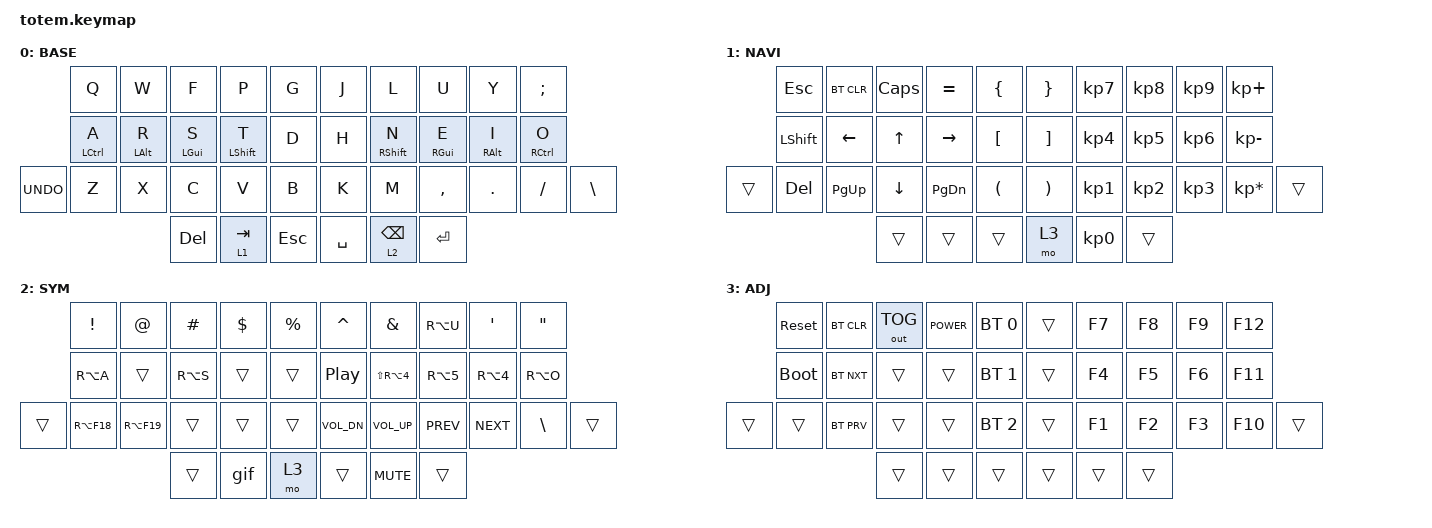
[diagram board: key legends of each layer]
//
//                                                        ▀▀▀▀▀     ▀▀▀▀▀          ▀▀█▀▀
//                                                        ▄▀▀▀▄  ▄  ▄▀▀▀▄  ▄  ▄▀▀▀▄  █  ▄▀▀▀▄
//                                                        █   █  █  █   █  █  █   █  █  █   █
//                                                         ▀▀▀   █   ▀▀▀   █   ▀▀▀   ▀   ▀▀▀
//                                                               █      ▄▄▄█▄▄▄    █   █  
//                                                               ▀      █  █  █     █▄█
//                                                             ▀▀▀▀▀    █  █  █      ▀
//                                                                      ▀  ▀  ▀
//
// ▄▄▄▄▄▄▄▄▄▄▄▄▄▄▄▄▄▄▄▄▄▄▄▄▄▄▄▄▄▄▄▄▄▄▄▄▄▄▄▄▄▄▄▄▄▄▄▄▄▄▄▄▄▄▄▄▄▄▄▄▄▄▄▄▄▄▄▄▄▄▄▄▄▄▄▄▄▄▄▄▄▄▄▄▄▄▄▄▄▄▄▄▄▄▄▄▄▄▄▄▄▄▄▄▄▄▄▄▄▄▄▄▄▄▄▄▄▄▄▄▄▄▄▄▄▄▄▄▄▄▄▄▄▄▄▄▄▄▄▄▄▄▄▄▄▄▄▄▄
       

#include <behaviors.dtsi>
#include <dt-bindings/zmk/bt.h>
#include <dt-bindings/zmk/keys.h>
#include <dt-bindings/zmk/outputs.h>

#define BASE 0
#define NAV  1
#define SYM  2
#define ADJ  3

&mt {
  quick-tap-ms = <100>;
  global-quick-tap;
  flavor = "tap-preferred";
  tapping-term-ms = <200>;
};

/ {
    combos {
        compatible = "zmk,combos";

        combo_esc {
            timeout-ms = <50>;
            key-positions = <0 1>;
            bindings = <&kp ESC>;
        };

        combo_tvp {
            timeout-ms = <100>;
            key-positions = <11 12 13>;
            bindings = <&tog 0>;
        };

        copy {
            bindings = <&kp LG(C)>;
            key-positions = <22 23>;
            layers = <0>;
        };

        paste {
            bindings = <&kp LG(V)>;
            key-positions = <23 24>;
        };

        cut {
            bindings = <&kp LG(X)>;
            key-positions = <22 23 24>;
        };

        left_par {
            bindings = <&kp LEFT_PARENTHESIS>;
            key-positions = <16 17>;
        };

        right_par {
            bindings = <&kp RIGHT_PARENTHESIS>;
            key-positions = <17 18>;
        };

        left_brack {
            bindings = <&kp LEFT_BRACKET>;
            key-positions = <6 7>;
        };

        right_brack {
            bindings = <&kp RIGHT_BRACKET>;
            key-positions = <7 8>;
        };

        left_brace {
            bindings = <&kp LEFT_BRACE>;
            key-positions = <27 28>;
        };

        right_brace {
            bindings = <&kp RIGHT_BRACE>;
            key-positions = <28 29>;
        };

        underscore {
            bindings = <&kp UNDERSCORE>;
            key-positions = <16 27>;
        };

        hyper {
            bindings = <&kp LS(LA(LC(LGUI)))>;
            key-positions = <33 34>;
        };

        at {
            bindings = <&kp AT>;
            key-positions = <1 11>;
        };

        pound {
            bindings = <&kp POUND>;
            key-positions = <2 12>;
        };

        dollar {
            bindings = <&kp DOLLAR>;
            key-positions = <3 13>;
        };

        percent {
            bindings = <&kp PERCENT>;
            key-positions = <4 14>;
        };

        equal {
            bindings = <&kp EQUAL>;
            key-positions = <13 24>;
        };

        tilde {
            bindings = <&kp TILDE>;
            key-positions = <14 25>;
        };

        minus {
            bindings = <&kp KP_MINUS>;
            key-positions = <15 26>;
        };
    };

    macros {
        gif: gif {
            label = "giphy";
            compatible = "zmk,behavior-macro";
            #binding-cells = <0>;
            bindings =
                <&macro_press>,
                <&kp LSHFT>,
                <&macro_tap>,
                <&kp N2>,
                <&macro_release>,
                <&kp LSHFT>,
                <&macro_tap>,
                <&kp G &kp I &kp F>;
        };
    };

    keymap {
        compatible = "zmk,keymap";

        // ▄▄▄▄▄▄▄▄▄▄▄▄▄▄▄▄▄▄▄▄▄▄▄▄▄▄▄▄▄▄▄▄▄▄▄▄▄▄▄▄▄▄▄▄▄▄▄▄▄▄▄▄▄▄▄▄▄▄▄▄▄▄▄▄▄▄▄▄▄▄▄▄▄▄▄▄▄▄▄▄▄▄▄▄▄▄▄▄▄▄▄▄▄▄▄▄▄▄▄▄▄▄▄▄▄▄▄▄▄▄▄▄▄▄▄▄▄▄▄▄▄▄▄▄▄▄▄▄▄▄▄▄▄▄▄▄▄▄▄▄▄▄▄▄▄▄▄▄▄

        base_layer {
            // ┏━━━━━━━━━━━━━━━━━━━━━━━━━━━━━━━━━━━━━━━┓

            label = "BASE";

            // ┗━━━━━━━━━━━━━━━━━━━━━━━━━━━━━━━━━━━━━━━┛
            //             ┏━━━━━━━━━━━┳━━━━━━━━━━━┳━━━━━━━━━━━┳━━━━━━━━━━━┳━━━━━━━━━━━┓   ┏━━━━━━━━━━━┳━━━━━━━━━━━┳━━━━━━━━━━━┳━━━━━━━━━━━┳━━━━━━━━━━━┓
            //             ┃     Q     ┃     W     ┃     F     ┃     P     ┃     G     ┃   ┃     J     ┃     L     ┃     U     ┃     Y     ┃     ;     ┃
            //             ┣━━━━━━━━━━━╋━━━━━━━━━━━╋━━━━━━━━━━━╋━━━━━━━━━━━╋━━━━━━━━━━━┫   ┣━━━━━━━━━━━╋━━━━━━━━━━━╋━━━━━━━━━━━╋━━━━━━━━━━━╋━━━━━━━━━━━┫
            //             ┃     A     ┃     R     ┃     S     ┃     T     ┃     D     ┃   ┃     H     ┃     N     ┃     E     ┃     I     ┃     O     ┃
            // ┏━━━━━━━━━━━╋━━━━━━━━━━━╋━━━━━━━━━━━╋━━━━━━━━━━━╋━━━━━━━━━━━╋━━━━━━━━━━━┫   ┣━━━━━━━━━━━╋━━━━━━━━━━━╋━━━━━━━━━━━╋━━━━━━━━━━━╋━━━━━━━━━━━╋━━━━━━━━━━━┓
            // ┃     Q     ┃     Z     ┃     X     ┃     C     ┃     V     ┃     B     ┃   ┃     K     ┃     M     ┃     ,     ┃     .     ┃     /     ┃     \     ┃
            // ┗━━━━━━━━━━━┻━━━━━━━━━━━┻━━━━━━━━━━━╋━━━━━━━━━━━╋━━━━━━━━━━━╋━━━━━━━━━━━┫   ┣━━━━━━━━━━━╋━━━━━━━━━━━╋━━━━━━━━━━━╋━━━━━━━━━━━┻━━━━━━━━━━━┻━━━━━━━━━━━┛
            //                                     ┃    DEL    ┃    TAB    ┃    SPC    ┃   ┃   ENTER   ┃           ┃   BSPC    ┃
            //                                     ┗━━━━━━━━━━━┻━━━━━━━━━━━┻━━━━━━━━━━━┛   ┗━━━━━━━━━━━┻━━━━━━━━━━━┻━━━━━━━━━━━┛

            bindings = <
            &kp Q        &kp W       &kp F       &kp P        &kp G      &kp J      &kp L            &kp U       &kp Y       &kp SEMI
            &mt LCTRL A  &mt LALT R  &mt LGUI S  &mt LSHFT T  &kp D      &kp H      &mt RSHFT N      &mt RGUI E  &mt RALT I  &mt RCTRL O
&kp K_UNDO  &kp Z        &kp X       &kp C       &kp V        &kp B      &kp K      &kp M            &kp COMMA   &kp DOT     &kp FSLH     &kp BSLH
                                     &kp DEL     &lt 1 TAB    &kp ESC    &kp SPACE  &lt 2 BACKSPACE  &kp RETURN
            >;
        };

        // ▄▄▄▄▄▄▄▄▄▄▄▄▄▄▄▄▄▄▄▄▄▄▄▄▄▄▄▄▄▄▄▄▄▄▄▄▄▄▄▄▄▄▄▄▄▄▄▄▄▄▄▄▄▄▄▄▄▄▄▄▄▄▄▄▄▄▄▄▄▄▄▄▄▄▄▄▄▄▄▄▄▄▄▄▄▄▄▄▄▄▄▄▄▄▄▄▄▄▄▄▄▄▄▄▄▄▄▄▄▄▄▄▄▄▄▄▄▄▄▄▄▄▄▄▄▄▄▄▄▄▄▄▄▄▄▄▄▄▄▄▄▄▄▄▄▄▄▄▄

        nav_layer {
            // ┏━━━━━━━━━━━━━━━━━━━━━━━━━━━━━━━━━━━━━━━┓

            label = "NAVI";

            // ┗━━━━━━━━━━━━━━━━━━━━━━━━━━━━━━━━━━━━━━━┛
            //             ┏━━━━━━━━━━━┳━━━━━━━━━━━┳━━━━━━━━━━━┳━━━━━━━━━━━┳━━━━━━━━━━━┓   ┏━━━━━━━━━━━┳━━━━━━━━━━━┳━━━━━━━━━━━┳━━━━━━━━━━━┳━━━━━━━━━━━┓
            //             ┃           ┃           ┃     UP    ┃           ┃     {     ┃   ┃     }     ┃     7     ┃     8     ┃     9     ┃     +     ┃
            //             ┣━━━━━━━━━━━╋━━━━━━━━━━━╋━━━━━━━━━━━╋━━━━━━━━━━━╋━━━━━━━━━━━┫   ┣━━━━━━━━━━━╋━━━━━━━━━━━╋━━━━━━━━━━━╋━━━━━━━━━━━╋━━━━━━━━━━━┫
            //             ┃   SHIFT   ┃   LEFT    ┃    DOWN   ┃   RIGHT   ┃     [     ┃   ┃     ]     ┃     4     ┃     5     ┃     6     ┃     -     ┃
            // ┏━━━━━━━━━━━╋━━━━━━━━━━━╋━━━━━━━━━━━╋━━━━━━━━━━━╋━━━━━━━━━━━╋━━━━━━━━━━━┫   ┣━━━━━━━━━━━╋━━━━━━━━━━━╋━━━━━━━━━━━╋━━━━━━━━━━━╋━━━━━━━━━━━╋━━━━━━━━━━━┓
            // ┃           ┃           ┃   P UP    ┃  C LOCK   ┃  P DOWN   ┃     (     ┃   ┃     )     ┃     1     ┃     2     ┃     3     ┃     *     ┃           ┃
            // ┗━━━━━━━━━━━┻━━━━━━━━━━━┻━━━━━━━━━━━╋━━━━━━━━━━━╋━━━━━━━━━━━╋━━━━━━━━━━━┫   ┣━━━━━━━━━━━╋━━━━━━━━━━━╋━━━━━━━━━━━╋━━━━━━━━━━━┻━━━━━━━━━━━┻━━━━━━━━━━━┛
            //                                     ┃           ┃    TAB    ┃    SPC    ┃   ┃    DEL    ┃     0     ┃           ┃
            //                                     ┗━━━━━━━━━━━┻━━━━━━━━━━━┻━━━━━━━━━━━┛   ┗━━━━━━━━━━━┻━━━━━━━━━━━┻━━━━━━━━━━━┛

            bindings = <
        &kp ESC    &bt BT_CLR  &kp CAPS  &kp EQUAL  &kp LBRC    &kp RBRC  &kp KP_N7  &kp KP_N8  &kp KP_N9  &kp KP_PLUS
        &kp LSHFT  &kp LEFT    &kp UP    &kp RIGHT  &kp LBKT    &kp RBKT  &kp KP_N4  &kp KP_N5  &kp KP_N6  &kp KP_MINUS
&trans  &kp DEL    &kp PG_UP   &kp DOWN  &kp PG_DN  &kp LPAR    &kp RPAR  &kp KP_N1  &kp KP_N2  &kp KP_N3  &kp KP_MULTIPLY  &trans
                               &trans    &trans     &trans      &mo 3     &kp KP_N0  &trans
            >;
        };

        // ▄▄▄▄▄▄▄▄▄▄▄▄▄▄▄▄▄▄▄▄▄▄▄▄▄▄▄▄▄▄▄▄▄▄▄▄▄▄▄▄▄▄▄▄▄▄▄▄▄▄▄▄▄▄▄▄▄▄▄▄▄▄▄▄▄▄▄▄▄▄▄▄▄▄▄▄▄▄▄▄▄▄▄▄▄▄▄▄▄▄▄▄▄▄▄▄▄▄▄▄▄▄▄▄▄▄▄▄▄▄▄▄▄▄▄▄▄▄▄▄▄▄▄▄▄▄▄▄▄▄▄▄▄▄▄▄▄▄▄▄▄▄▄▄▄▄▄▄▄

        sim_layer {
            // ┏━━━━━━━━━━━━━━━━━━━━━━━━━━━━━━━━━━━━━━━┓

            label = "SYM";

            // ┗━━━━━━━━━━━━━━━━━━━━━━━━━━━━━━━━━━━━━━━┛
            //             ┏━━━━━━━━━━━┳━━━━━━━━━━━┳━━━━━━━━━━━┳━━━━━━━━━━━┳━━━━━━━━━━━┓   ┏━━━━━━━━━━━┳━━━━━━━━━━━┳━━━━━━━━━━━┳━━━━━━━━━━━┳━━━━━━━━━━━┓
            //             ┃     !     ┃     @     ┃     #     ┃     $     ┃     %     ┃   ┃     ˆ     ┃     &     ┃     Ü     ┃     '     ┃     "     ┃
            //             ┣━━━━━━━━━━━╋━━━━━━━━━━━╋━━━━━━━━━━━╋━━━━━━━━━━━╋━━━━━━━━━━━┫   ┣━━━━━━━━━━━╋━━━━━━━━━━━╋━━━━━━━━━━━╋━━━━━━━━━━━╋━━━━━━━━━━━┫
            //             ┃     Ä     ┃           ┃    SZ     ┃           ┃           ┃   ┃   MUTE    ┃   YEN     ┃   EURO    ┃  POUND    ┃     Ö     ┃
            // ┏━━━━━━━━━━━╋━━━━━━━━━━━╋━━━━━━━━━━━╋━━━━━━━━━━━╋━━━━━━━━━━━╋━━━━━━━━━━━┫   ┣━━━━━━━━━━━╋━━━━━━━━━━━╋━━━━━━━━━━━╋━━━━━━━━━━━╋━━━━━━━━━━━╋━━━━━━━━━━━┓
            // ┃           ┃  EMAIL1   ┃  EMAIL2   ┃           ┃           ┃           ┃   ┃   VOL-    ┃   VOL+    ┃   LAST    ┃   NEXT    ┃     \     ┃           ┃
            // ┗━━━━━━━━━━━┻━━━━━━━━━━━┻━━━━━━━━━━━╋━━━━━━━━━━━╋━━━━━━━━━━━╋━━━━━━━━━━━┫   ┣━━━━━━━━━━━╋━━━━━━━━━━━╋━━━━━━━━━━━╋━━━━━━━━━━━┻━━━━━━━━━━━┻━━━━━━━━━━━┛
            //                                     ┃           ┃    GIF    ┃    ADJ    ┃   ┃           ┃           ┃           ┃
            //                                     ┗━━━━━━━━━━━┻━━━━━━━━━━━┻━━━━━━━━━━━┛   ┗━━━━━━━━━━━┻━━━━━━━━━━━┻━━━━━━━━━━━┛

            bindings = <
        &kp EXCL     &kp AT       &kp HASH   &kp DLLR  &kp PRCNT    &kp CARET         &kp AMPS        &kp RA(U)   &kp SQT     &kp DQT
        &kp RA(A)    &trans       &kp RA(S)  &trans    &trans       &kp C_PLAY_PAUSE  &kp LS(RA(N4))  &kp RA(N5)  &kp RA(N4)  &kp RA(O)
&trans  &kp RA(F18)  &kp RA(F19)  &trans     &trans    &trans       &kp C_VOL_DN      &kp C_VOL_UP    &kp C_PREV  &kp C_NEXT  &kp BSLH   &trans
                                  &trans     &gif      &mo 3        &trans            &kp C_MUTE      &trans
            >;
        };

        // ▄▄▄▄▄▄▄▄▄▄▄▄▄▄▄▄▄▄▄▄▄▄▄▄▄▄▄▄▄▄▄▄▄▄▄▄▄▄▄▄▄▄▄▄▄▄▄▄▄▄▄▄▄▄▄▄▄▄▄▄▄▄▄▄▄▄▄▄▄▄▄▄▄▄▄▄▄▄▄▄▄▄▄▄▄▄▄▄▄▄▄▄▄▄▄▄▄▄▄▄▄▄▄▄▄▄▄▄▄▄▄▄▄▄▄▄▄▄▄▄▄▄▄▄▄▄▄▄▄▄▄▄▄▄▄▄▄▄▄▄▄▄▄▄▄▄▄▄▄

        adjust_layer {
            // ┏━━━━━━━━━━━━━━━━━━━━━━━━━━━━━━━━━━━━━━━┓

            label = "ADJ";

            // ┗━━━━━━━━━━━━━━━━━━━━━━━━━━━━━━━━━━━━━━━┛
            //             ┏━━━━━━━━━━━┳━━━━━━━━━━━┳━━━━━━━━━━━┳━━━━━━━━━━━┳━━━━━━━━━━━┓   ┏━━━━━━━━━━━┳━━━━━━━━━━━┳━━━━━━━━━━━┳━━━━━━━━━━━┳━━━━━━━━━━━┓
            //             ┃   RESET   ┃ BT CLEAR  ┃  OUT TOG  ┃           ┃   BT 0    ┃   ┃           ┃    F7     ┃    F8     ┃    F9     ┃    F12    ┃
            //             ┣━━━━━━━━━━━╋━━━━━━━━━━━╋━━━━━━━━━━━╋━━━━━━━━━━━╋━━━━━━━━━━━┫   ┣━━━━━━━━━━━╋━━━━━━━━━━━╋━━━━━━━━━━━╋━━━━━━━━━━━╋━━━━━━━━━━━┫
            //             ┃ BOOTLOAD  ┃ BT NEXT   ┃           ┃           ┃   BT 1    ┃   ┃           ┃    F4     ┃    F5     ┃    F6     ┃    F11    ┃
            // ┏━━━━━━━━━━━╋━━━━━━━━━━━╋━━━━━━━━━━━╋━━━━━━━━━━━╋━━━━━━━━━━━╋━━━━━━━━━━━┫   ┣━━━━━━━━━━━╋━━━━━━━━━━━╋━━━━━━━━━━━╋━━━━━━━━━━━╋━━━━━━━━━━━╋━━━━━━━━━━━┓
            // ┃           ┃           ┃ BT PREV   ┃           ┃           ┃   BT 2    ┃   ┃           ┃    F1     ┃    F2     ┃    F3     ┃    F10    ┃           ┃
            // ┗━━━━━━━━━━━┻━━━━━━━━━━━┻━━━━━━━━━━━╋━━━━━━━━━━━╋━━━━━━━━━━━╋━━━━━━━━━━━┫   ┣━━━━━━━━━━━╋━━━━━━━━━━━╋━━━━━━━━━━━╋━━━━━━━━━━━┻━━━━━━━━━━━┻━━━━━━━━━━━┛
            //                                     ┃           ┃           ┃           ┃   ┃           ┃           ┃           ┃
            //                                     ┗━━━━━━━━━━━┻━━━━━━━━━━━┻━━━━━━━━━━━┛   ┗━━━━━━━━━━━┻━━━━━━━━━━━┻━━━━━━━━━━━┛

            bindings = <
        &sys_reset   &bt BT_CLR  &out OUT_TOG  &kp K_POWER  &bt BT_SEL 0    &trans  &kp F7  &kp F8  &kp F9  &kp F12
        &bootloader  &bt BT_NXT  &trans        &trans       &bt BT_SEL 1    &trans  &kp F4  &kp F5  &kp F6  &kp F11
&trans  &trans       &bt BT_PRV  &trans        &trans       &bt BT_SEL 2    &trans  &kp F1  &kp F2  &kp F3  &kp F10  &trans
                                 &trans        &trans       &trans          &trans  &trans  &trans
            >;
        };

        // ▄▄▄▄▄▄▄▄▄▄▄▄▄▄▄▄▄▄▄▄▄▄▄▄▄▄▄▄▄▄▄▄▄▄▄▄▄▄▄▄▄▄▄▄▄▄▄▄▄▄▄▄▄▄▄▄▄▄▄▄▄▄▄▄▄▄▄▄▄▄▄▄▄▄▄▄▄▄▄▄▄▄▄▄▄▄▄▄▄▄▄▄▄▄▄▄▄▄▄▄▄▄▄▄▄▄▄▄▄▄▄▄▄▄▄▄▄▄▄▄▄▄▄▄▄▄▄▄▄▄▄▄▄▄▄▄▄▄▄▄▄▄▄▄▄▄▄▄▄
        // ▄▄▄▄▄▄▄▄▄▄▄▄▄▄▄▄▄▄▄▄▄▄▄▄▄▄▄▄▄▄▄▄▄▄▄▄▄▄▄▄▄▄▄▄▄▄▄▄▄▄▄▄▄▄▄▄▄▄▄▄▄▄▄▄▄▄▄▄▄▄▄▄▄▄▄▄▄▄▄▄▄▄▄▄▄▄▄▄▄▄▄▄▄▄▄▄▄▄▄▄▄▄▄▄▄▄▄▄▄▄▄▄▄▄▄▄▄▄▄▄▄▄▄▄▄▄▄▄▄▄▄▄▄▄▄▄▄▄▄▄▄▄▄▄▄▄▄▄▄
    };
};



